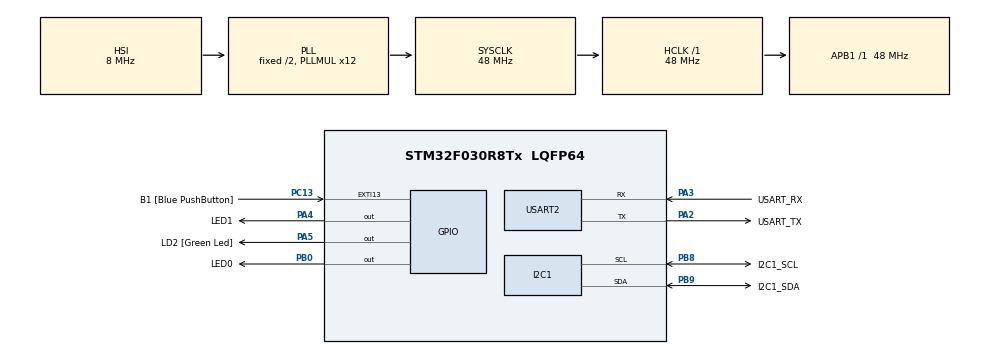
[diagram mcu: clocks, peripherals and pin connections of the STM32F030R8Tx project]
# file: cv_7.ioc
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FREERTOS.Queues01=xVisualQueue,16,int16_t,0,Dynamic,NULL,NULL
FREERTOS.Tasks01=defaultTask,0,128,StartDefaultTask,Default,NULL,Dynamic,NULL,NULL;VisualTask,0,128,StartVisualTask,Default,NULL,Dynamic,NULL,NULL;AcceleroTask,0,128,StartAcceleroTask,Default,NULL,Dynamic,NULL,NULL
FREERTOS.configUSE_NEWLIB_REENTRANT=1
Mcu.Family=STM32F0
Mcu.Name=STM32F030R8Tx
Mcu.Package=LQFP64
NVIC.TIM14_IRQn=true\:3\:0\:false\:false\:true\:false\:false\:true\:true
NVIC.TimeBase=TIM14_IRQn
NVIC.TimeBaseIP=TIM14
PA13.GPIO_Label=TMS
PA13.Mode=Serial_Wire
PA13.Signal=SYS_SWDIO
PA14.GPIO_Label=TCK
PA14.Mode=Serial_Wire
PA14.Signal=SYS_SWCLK
PA2.GPIO_Label=USART_TX
PA2.GPIO_Mode=GPIO_MODE_AF_PP
PA2.GPIO_PuPd=GPIO_NOPULL
PA2.GPIO_Speed=GPIO_SPEED_FREQ_LOW
PA2.Mode=Asynchronous
PA2.Signal=USART2_TX
PA3.GPIO_Label=USART_RX
PA3.GPIO_Mode=GPIO_MODE_AF_PP
PA3.GPIO_PuPd=GPIO_NOPULL
PA3.GPIO_Speed=GPIO_SPEED_FREQ_LOW
PA3.Mode=Asynchronous
PA3.Signal=USART2_RX
PA4.GPIO_Label=LED1
PA4.Signal=GPIO_Output
PA5.GPIO_Label=LD2 [Green Led]
PA5.GPIO_Mode=GPIO_MODE_OUTPUT_PP
PA5.GPIO_PuPd=GPIO_NOPULL
PA5.GPIO_Speed=GPIO_SPEED_FREQ_LOW
PA5.Signal=GPIO_Output
PB0.GPIO_Label=LED0
PB0.Signal=GPIO_Output
PB8.GPIO_Label=I2C1_SCL
PB8.Mode=I2C
PB8.Signal=I2C1_SCL
PB9.GPIO_Label=I2C1_SDA
PB9.Mode=I2C
PB9.Signal=I2C1_SDA
PC13.GPIO_Label=B1 [Blue PushButton]
PC13.GPIO_ModeDefaultEXTI=GPIO_MODE_IT_FALLING
PC13.Signal=GPXTI13
PC14-OSC32_IN.Mode=LSE-External-Oscillator
PC14-OSC32_IN.Signal=RCC_OSC32_IN
PC15-OSC32_OUT.Mode=LSE-External-Oscillator
PC15-OSC32_OUT.Signal=RCC_OSC32_OUT
PF0-OSC_IN.Mode=HSE-External-Clock-Source
PF0-OSC_IN.Signal=RCC_OSC_IN
PF1-OSC_OUT.Signal=RCC_OSC_OUT
ProjectManager.HeapSize=0x200
ProjectManager.StackSize=0x400
ProjectManager.TargetToolchain=STM32CubeIDE
RCC.AHBFreq_Value=48000000
RCC.APB1Freq_Value=48000000
RCC.APB1TimFreq_Value=48000000
RCC.HCLKFreq_Value=48000000
RCC.PLLMUL=RCC_PLL_MUL12
RCC.SYSCLKFreq_VALUE=48000000
RCC.SYSCLKSource=RCC_SYSCLKSOURCE_PLLCLK
USART2.VirtualMode-Asynchronous=VM_ASYNC
VP_FREERTOS_VS_CMSIS_V1.Mode=CMSIS_V1
VP_SYS_VS_tim14.Mode=TIM14
board=NUCLEO-F030R8

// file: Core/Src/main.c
/* USER CODE BEGIN Header */
/**
  ******************************************************************************
  * @file           : main.c
  * @brief          : Main program body
  ******************************************************************************
  * @attention
  *
  * Copyright (c) 2022 STMicroelectronics.
  * All rights reserved.
  *
  * This software is licensed under terms that can be found in the LICENSE file
  * in the root directory of this software component.
  * If no LICENSE file comes with this software, it is provided AS-IS.
  *
  ******************************************************************************
  */
/* USER CODE END Header */
#include "main.h"
#include "cmsis_os.h"

/* USER CODE BEGIN Includes */

#include "lis2dw12_reg.h"
#include "stdio.h"

/* USER CODE END Includes */

/* USER CODE BEGIN PD */

# define UART_DELAY 1000

/* USER CODE END PD */

I2C_HandleTypeDef hi2c1;

UART_HandleTypeDef huart2;

osThreadId defaultTaskHandle;
osThreadId VisualTaskHandle;
osThreadId AcceleroTaskHandle;
osMessageQId xVisualQueueHandle;
/* USER CODE BEGIN PV */

int16_t msg;

/* USER CODE END PV */

void SystemClock_Config(void);
static void MX_GPIO_Init(void);
static void MX_USART2_UART_Init(void);
static void MX_I2C1_Init(void);
void StartDefaultTask(void const * argument);
void StartVisualTask(void const * argument);
void StartAcceleroTask(void const * argument);

/* USER CODE BEGIN 0 */

static int32_t platform_write(void *handle, uint8_t reg, const uint8_t *bufp, uint16_t len);
static int32_t platform_read(void *handle, uint8_t reg, uint8_t *bufp, uint16_t len);
static stmdev_ctx_t lis2dw12 = {
	.write_reg = platform_write,
	.read_reg = platform_read,
	.handle = &hi2c1,
};

int _write(int file, char const *buf, int n) // strong function, tells the stdio library, where to print data to
{
	/* stdout redirection to UART2 */
	HAL_UART_Transmit(&huart2, (uint8_t*)(buf), n, HAL_MAX_DELAY);
	return n;
}

static int32_t platform_write(void *handle, uint8_t reg, const uint8_t *bufp, uint16_t len)
{
	HAL_I2C_Mem_Write(handle, LIS2DW12_I2C_ADD_H, reg, I2C_MEMADD_SIZE_8BIT, (uint8_t*)bufp, len, 1000);
	return 0;
}
static int32_t platform_read(void *handle, uint8_t reg, uint8_t *bufp, uint16_t len)
{
	HAL_I2C_Mem_Read(handle, LIS2DW12_I2C_ADD_H, reg, I2C_MEMADD_SIZE_8BIT, bufp, len, 1000);
	return 0;
}

/* USER CODE END 0 */

int main(void)
{

  /* MCU Configuration--------------------------------------------------------*/

  /* Reset of all peripherals, Initializes the Flash interface and the Systick. */
  HAL_Init();

  /* Configure the system clock */
  SystemClock_Config();

  /* Initialize all configured peripherals */
  MX_GPIO_Init();
  MX_USART2_UART_Init();
  MX_I2C1_Init();

  /* Create the queue(s) */
  /* definition and creation of xVisualQueue */
  osMessageQDef(xVisualQueue, 16, int16_t);
  xVisualQueueHandle = osMessageCreate(osMessageQ(xVisualQueue), NULL);

  /* Create the thread(s) */
  /* definition and creation of defaultTask */
  osThreadDef(defaultTask, StartDefaultTask, osPriorityNormal, 0, 128);
  defaultTaskHandle = osThreadCreate(osThread(defaultTask), NULL);

  /* definition and creation of VisualTask */
  osThreadDef(VisualTask, StartVisualTask, osPriorityNormal, 0, 128);
  VisualTaskHandle = osThreadCreate(osThread(VisualTask), NULL);

  /* definition and creation of AcceleroTask */
  osThreadDef(AcceleroTask, StartAcceleroTask, osPriorityNormal, 0, 128);
  AcceleroTaskHandle = osThreadCreate(osThread(AcceleroTask), NULL);

  /* Start scheduler */
  osKernelStart(); // Don't write anything into main() function, for this command takes control of the program for eternity

  /* We should never get here as control is now taken by the scheduler */
  /* Infinite loop */
  while (1)
  {

  }
}

void SystemClock_Config(void)
{
  RCC_OscInitTypeDef RCC_OscInitStruct = {0};
  RCC_ClkInitTypeDef RCC_ClkInitStruct = {0};
  RCC_PeriphCLKInitTypeDef PeriphClkInit = {0};

  /** Initializes the RCC Oscillators according to the specified parameters
  * in the RCC_OscInitTypeDef structure.
  */
  RCC_OscInitStruct.OscillatorType = RCC_OSCILLATORTYPE_HSI;
  RCC_OscInitStruct.HSIState = RCC_HSI_ON;
  RCC_OscInitStruct.HSICalibrationValue = RCC_HSICALIBRATION_DEFAULT;
  RCC_OscInitStruct.PLL.PLLState = RCC_PLL_ON;
  RCC_OscInitStruct.PLL.PLLSource = RCC_PLLSOURCE_HSI;
  RCC_OscInitStruct.PLL.PLLMUL = RCC_PLL_MUL12;
  RCC_OscInitStruct.PLL.PREDIV = RCC_PREDIV_DIV1;
  if (HAL_RCC_OscConfig(&RCC_OscInitStruct) != HAL_OK)
  {
    Error_Handler();
  }

  /** Initializes the CPU, AHB and APB buses clocks
  */
  RCC_ClkInitStruct.ClockType = RCC_CLOCKTYPE_HCLK|RCC_CLOCKTYPE_SYSCLK
                              |RCC_CLOCKTYPE_PCLK1;
  RCC_ClkInitStruct.SYSCLKSource = RCC_SYSCLKSOURCE_PLLCLK;
  RCC_ClkInitStruct.AHBCLKDivider = RCC_SYSCLK_DIV1;
  RCC_ClkInitStruct.APB1CLKDivider = RCC_HCLK_DIV1;

  if (HAL_RCC_ClockConfig(&RCC_ClkInitStruct, FLASH_LATENCY_1) != HAL_OK)
  {
    Error_Handler();
  }
  PeriphClkInit.PeriphClockSelection = RCC_PERIPHCLK_I2C1;
  PeriphClkInit.I2c1ClockSelection = RCC_I2C1CLKSOURCE_HSI;
  if (HAL_RCCEx_PeriphCLKConfig(&PeriphClkInit) != HAL_OK)
  {
    Error_Handler();
  }
}

static void MX_I2C1_Init(void)
{

  hi2c1.Instance = I2C1;
  hi2c1.Init.Timing = 0x2000090E;
  hi2c1.Init.OwnAddress1 = 0;
  hi2c1.Init.AddressingMode = I2C_ADDRESSINGMODE_7BIT;
  hi2c1.Init.DualAddressMode = I2C_DUALADDRESS_DISABLE;
  hi2c1.Init.OwnAddress2 = 0;
  hi2c1.Init.OwnAddress2Masks = I2C_OA2_NOMASK;
  hi2c1.Init.GeneralCallMode = I2C_GENERALCALL_DISABLE;
  hi2c1.Init.NoStretchMode = I2C_NOSTRETCH_DISABLE;
  if (HAL_I2C_Init(&hi2c1) != HAL_OK)
  {
    Error_Handler();
  }

  /** Configure Analogue filter
  */
  if (HAL_I2CEx_ConfigAnalogFilter(&hi2c1, I2C_ANALOGFILTER_ENABLE) != HAL_OK)
  {
    Error_Handler();
  }

  /** Configure Digital filter
  */
  if (HAL_I2CEx_ConfigDigitalFilter(&hi2c1, 0) != HAL_OK)
  {
    Error_Handler();
  }

}

static void MX_USART2_UART_Init(void)
{

  huart2.Instance = USART2;
  huart2.Init.BaudRate = 38400;
  huart2.Init.WordLength = UART_WORDLENGTH_8B;
  huart2.Init.StopBits = UART_STOPBITS_1;
  huart2.Init.Parity = UART_PARITY_NONE;
  huart2.Init.Mode = UART_MODE_TX_RX;
  huart2.Init.HwFlowCtl = UART_HWCONTROL_NONE;
  huart2.Init.OverSampling = UART_OVERSAMPLING_16;
  huart2.Init.OneBitSampling = UART_ONE_BIT_SAMPLE_DISABLE;
  huart2.AdvancedInit.AdvFeatureInit = UART_ADVFEATURE_NO_INIT;
  if (HAL_UART_Init(&huart2) != HAL_OK)
  {
    Error_Handler();
  }

}

static void MX_GPIO_Init(void)
{
  GPIO_InitTypeDef GPIO_InitStruct = {0};

  /* GPIO Ports Clock Enable */
  __HAL_RCC_GPIOC_CLK_ENABLE();
  __HAL_RCC_GPIOF_CLK_ENABLE();
  __HAL_RCC_GPIOA_CLK_ENABLE();
  __HAL_RCC_GPIOB_CLK_ENABLE();

  /*Configure GPIO pin Output Level */
  HAL_GPIO_WritePin(GPIOA, GPIO_PIN_4|GPIO_PIN_5, GPIO_PIN_RESET);

  /*Configure GPIO pin Output Level */
  HAL_GPIO_WritePin(GPIOB, GPIO_PIN_0, GPIO_PIN_RESET);

  /*Configure GPIO pin : PC13 */
  GPIO_InitStruct.Pin = GPIO_PIN_13;
  GPIO_InitStruct.Mode = GPIO_MODE_IT_FALLING;
  GPIO_InitStruct.Pull = GPIO_NOPULL;
  HAL_GPIO_Init(GPIOC, &GPIO_InitStruct);

  /*Configure GPIO pins : PA4 PA5 */
  GPIO_InitStruct.Pin = GPIO_PIN_4|GPIO_PIN_5;
  GPIO_InitStruct.Mode = GPIO_MODE_OUTPUT_PP;
  GPIO_InitStruct.Pull = GPIO_NOPULL;
  GPIO_InitStruct.Speed = GPIO_SPEED_FREQ_LOW;
  HAL_GPIO_Init(GPIOA, &GPIO_InitStruct);

  /*Configure GPIO pin : PB0 */
  GPIO_InitStruct.Pin = GPIO_PIN_0;
  GPIO_InitStruct.Mode = GPIO_MODE_OUTPUT_PP;
  GPIO_InitStruct.Pull = GPIO_NOPULL;
  GPIO_InitStruct.Speed = GPIO_SPEED_FREQ_LOW;
  HAL_GPIO_Init(GPIOB, &GPIO_InitStruct);

}

void StartDefaultTask(void const * argument)
{
  /* USER CODE BEGIN 5 */
  /* Infinite loop */
	//static uint8_t counter = 0;
	for(;;)
	{
		/*switch(counter)
		{
			case 0:
				msg = 5000;
				xQueueSend(xVisualQueueHandle, &msg, 0);
				osDelay(300);
			break;
			case 2:
				msg = -5000;
				xQueueSend(xVisualQueueHandle, &msg, 0);
				osDelay(300);
			break;
			default:
				msg = 0;
				xQueueSend(xVisualQueueHandle, &msg, 0);
				osDelay(300);
		}
		counter++;
		if(counter > 3) counter = 0;
		osDelay(1);*/
	}
  /* USER CODE END 5 */
}

void StartVisualTask(void const * argument) // tasks between which the scheduler switches periodically
{
  /* USER CODE BEGIN StartVisualTask */
  /* Infinite loop */
  for(;;)
  {
	  if(xQueueReceive(xVisualQueueHandle, &msg, portMAX_DELAY)) // update which led is turned on at a particular time and space
	  {

		  if(msg < -1000)
		  {
			  HAL_GPIO_WritePin(LED1_GPIO_Port, LED1_Pin, 1);
			  HAL_GPIO_WritePin(LED0_GPIO_Port, LED0_Pin, 0);
		  }
		  else if(msg > 1000)
		  {
			  HAL_GPIO_WritePin(LED0_GPIO_Port, LED0_Pin, 1);
			  HAL_GPIO_WritePin(LED1_GPIO_Port, LED1_Pin, 0);
		  }
		  else
		  {
			  HAL_GPIO_WritePin(LED0_GPIO_Port, LED0_Pin, 0);
			  HAL_GPIO_WritePin(LED1_GPIO_Port, LED1_Pin, 0);
		  }

	  }
	  osDelay(1);
  }
  /* USER CODE END StartVisualTask */
}

void StartAcceleroTask(void const * argument) // task responsible for taking care of the accelerometer readings
{
  /* USER CODE BEGIN StartAcceleroTask */
	static uint16_t lastTicks = 0;
	lis2dw12_full_scale_set(&lis2dw12, LIS2DW12_2g); // accelerometer configuration
	lis2dw12_power_mode_set(&lis2dw12, LIS2DW12_CONT_LOW_PWR_LOW_NOISE_2);
	lis2dw12_block_data_update_set(&lis2dw12, PROPERTY_ENABLE);
	lis2dw12_fifo_mode_set(&lis2dw12, LIS2DW12_STREAM_MODE); // enable continuous FIFO
	lis2dw12_data_rate_set(&lis2dw12, LIS2DW12_XL_ODR_25Hz); // enable part from power-down
	uint8_t whoamI = 0;
	lis2dw12_device_id_get(&lis2dw12, &whoamI); // check if the accelerometer is connected
	printf("LIS2DW12_ID %s\n", (whoamI == LIS2DW12_ID) ? "OK" : "FAIL");

  /* Infinite loop */
	for(;;)
	{
		// Check device ID
		uint8_t samples;
		int16_t raw_acceleration[3];

		lis2dw12_fifo_data_level_get(&lis2dw12, &samples); // read data from the accelerometer
		for (uint8_t i = 0; i < samples; i++)
		{
			// Read acceleration data
			lis2dw12_acceleration_raw_get(&lis2dw12, raw_acceleration);
		}

		xQueueSend(xVisualQueueHandle, &raw_acceleration[0], 0);
		if(xTaskGetTickCount() >= lastTicks + UART_DELAY)
		{
			lastTicks = xTaskGetTickCount();
			printf("X=%d Y=%d Z=%d\n", raw_acceleration[0], raw_acceleration[1], raw_acceleration[2]);
		}
		osDelay(50); // non-blocking wait regarding the RTOS
	}
  /* USER CODE END StartAcceleroTask */
}

void HAL_TIM_PeriodElapsedCallback(TIM_HandleTypeDef *htim)
{
  if (htim->Instance == TIM14) {
    HAL_IncTick();
  }
}

void Error_Handler(void)
{
  __disable_irq();
  while (1)
  {
  }
}
